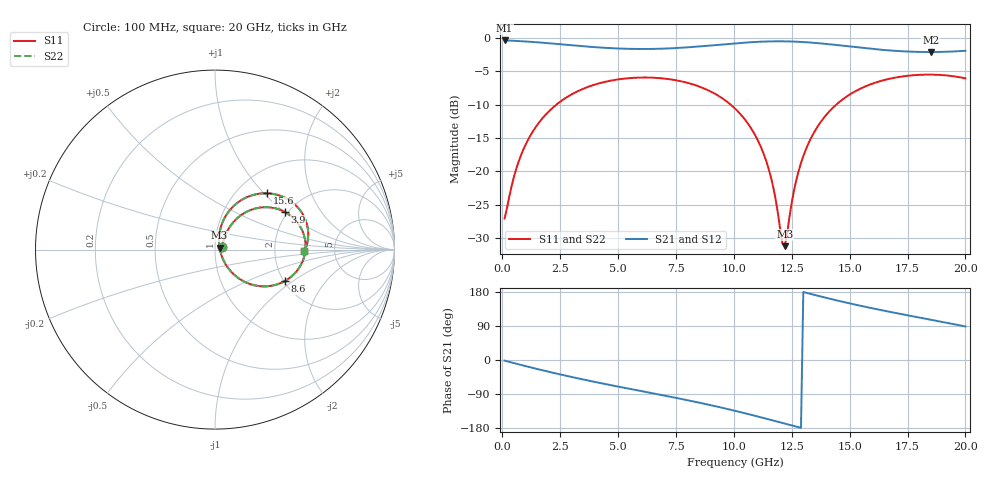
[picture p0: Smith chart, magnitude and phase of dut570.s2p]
! Touchstone file exported from HFSS 2026.1.0
!  File:  C:/ffzhzh/LocalFiles/Ansys_Project_Files/temp_train_TSV_RDL_570_1783117633_37876.aedt
!  Generated:  06:37:46 AM Jul  4, 2026
!  Design:  TSV_RDL
!  Project:  temp_train_TSV_RDL_570_1783117633_37876
! Variables:
!  h_bsmrdl = 2.1um
!  h_ox = 20um
!  h_rdl = 5um
!  h_sub = 77.83um
!  h_tmrdl = 2.38um
!  h_tsv = 77.83um
!  h_via = 3um
!  l_bsmrdl = 290.6um
!  l_sub = 4331.66um
!  l_tmrdl = 736.66um
!  m_sub = 200um
!  pitch = 38.94um
!  r_tsv = 10.58um
!  s_tmrdl = 10um
!  w_bsmrdl = 25.56um
!  w_sub = 500um
!  w_tmrdl = 12.18um
!  x_tsv_center1 = 742.75um
!  x_tsv_center2 = 1058.91um
!  x_tsv_center3 = 1807.75um
!  x_tsv_center4 = 2123.91um
!  x_tsv_center5 = 2872.75um
!  x_tsv_center6 = 3188.91um
# GHz S MA R 50.000000
! Terminal data exported
! Port[1] = TM_RDL1_1_T1
! Port[2] = TM_RDL5_1_T1
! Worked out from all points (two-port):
!   200 points, 100 MHz to 20 GHz, reference 50 ohm
!   highest |S21| = -0.37 dB at 100 MHz (marker M1); lowest = -2.1 dB at 18.5 GHz (marker M2)
!   |S21| within 3 dB of the highest: start of sweep to end of sweep
!   lowest |S11| = -31.2 dB at 12.2 GHz (marker M3), VSWR 1.06, Z = 52.6 + j1.04 ohm
!   |S11| at or under -10 dB: start of sweep to 2.336 GHz; 9.862 GHz to 14.42 GHz (4.561 GHz wide, 37.6 % of centre)
!   |S22| runs from -31.1 to -5.5 dB; largest |S21 - S12| = 1.7e-14
!   S11 on the Smith chart (normalised r, x): 100 MHz: 1.09, +0.03; 3.9 GHz: 1.93, +1.01; 8.6 GHz: 2.02, -0.87; 15.6 GHz: 1.36, +1.04; 20 GHz: 2.98, -0.08
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0.1  0.0442 20.0  0.9588 -1.7  0.9588 -1.7  0.0442 20.0
! Gamma 0 0 0 0
! Port Impedance 50 0 50 0
0.6  0.1039 54.9  0.9511 -9.8  0.9511 -9.8  0.1039 54.9
1.3  0.1964 55.6  0.9347 -20.6  0.9347 -20.6  0.1964 55.6
2.3  0.3125 46.4  0.9048 -35.3  0.9048 -35.3  0.3125 46.4
3.5  0.4163 32.9  0.8673 -51.5  0.8673 -51.5  0.4163 32.9
3.9  0.4417 28.4  0.8564 -56.7  0.8564 -56.7  0.4417 28.4
5.4  0.4985 11.8  0.8301 -74.9  0.8301 -74.9  0.4985 11.8
6.8  0.5 -3.6  0.8308 -91.5  0.8308 -91.5  0.5 -3.6
8.6  0.4262 -24.4  0.8671 -113.8  0.8671 -113.8  0.4262 -24.3
10.1  0.29 -42.9  0.9133 -134.8  0.9133 -134.8  0.29 -42.8
10.8  0.2028 -50.8  0.9316 -145.4  0.9316 -145.4  0.2029 -50.7
11.3  0.1335 -54.5  0.9406 -153.3  0.9406 -153.3  0.1336 -54.3
11.7  0.07615 -51.6  0.9444 -159.7  0.9444 -159.7  0.07628 -51.3
12.1  0.0287 -9.1  0.9448 -166.2  0.9448 -166.2  0.02907 -8.8
12.2  0.0274 21.1  0.9443 -167.8  0.9443 -167.8  0.0278 21.0
12.7  0.0863 73.9  0.9387 -175.9  0.9387 -175.9  0.08644 73.7
13.4  0.1867 73.0  0.9223 173.0  0.9223 173.0  0.1868 72.9
14.3  0.3022 63.1  0.8912 159.4  0.8912 159.4  0.3022 63.0
15.6  0.4274 47.3  0.8414 141.4  0.8414 141.4  0.4274 47.2
16.7  0.4935 34.6  0.8074 127.5  0.8074 127.5  0.4936 34.6
18.5  0.5313 15.0  0.7849 106.3  0.7849 106.3  0.5313 15.1
20  0.4981 -1.2  0.8021 88.5  0.8021 88.5  0.4981 -1.1
